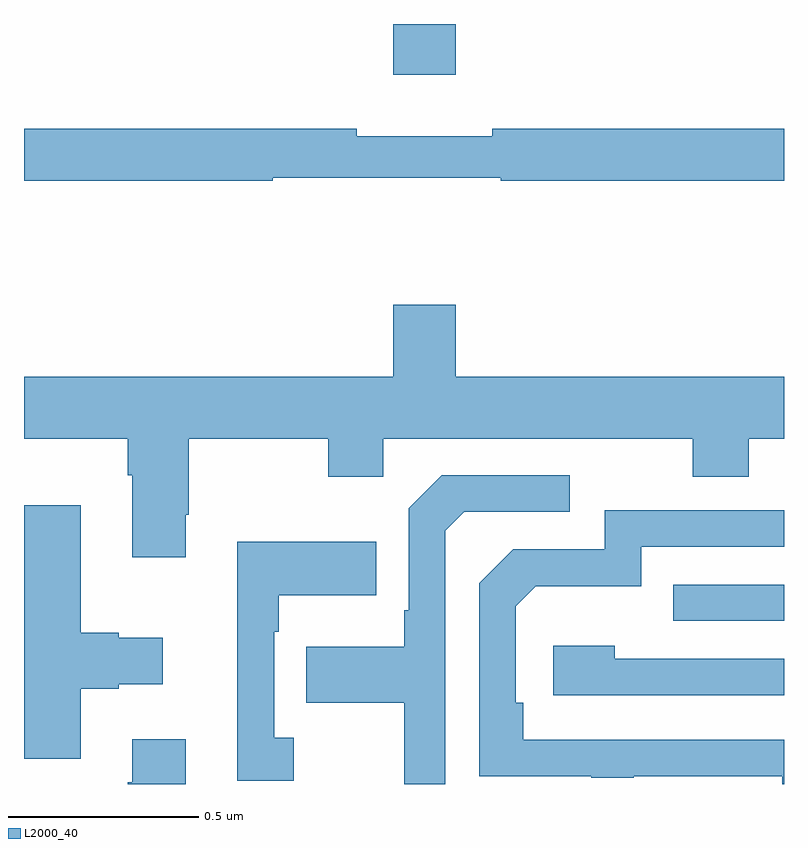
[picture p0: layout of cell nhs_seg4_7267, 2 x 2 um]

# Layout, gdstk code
import gdstk
lib = gdstk.Library(unit=1e-6, precision=1e-09)
def R(c, l, rs):  # rectangles x0, y0, x1, y1
    for r in rs: c.add(gdstk.rectangle(r[:2], r[2:], *l))
def P(c, l, *ps):  # polygons
    for p in ps: c.add(gdstk.Polygon(p, *l))
L2000_40 = (2000, 40)

nhs_seg4_7267 = lib.new_cell('nhs_seg4_7267')
R(nhs_seg4_7267, L2000_40, [(201.709,808.329,202,808.425), (200.972,809.766,201.136,809.9)])
P(nhs_seg4_7267, L2000_40, [(200.655,809.496),(201.255,809.496),(201.255,809.488),(202,809.488),(202,809.624),(201.232,809.624),(201.232,809.605),(200.876,809.605),(200.876,809.624),(200,809.624),(200,809.488),(200.655,809.488)],
  [(200.425,808.609),(200.433,808.609),(200.433,808.808),(200.8,808.808),(200.8,808.709),(200.946,808.709),(200.946,808.808),(201.76,808.808),(201.76,808.709),(201.907,808.709),(201.907,808.808),(202,808.808),(202,808.972),(201.136,808.972),(201.136,809.161),(200.972,809.161),(200.972,808.972),(200,808.972),(200,808.808),(200.273,808.808),(200.273,808.712),(200.285,808.712),(200.285,808.497),(200.425,808.497)],
  [(201.108,808.566),(201.159,808.617),(201.436,808.617),(201.436,808.713),(201.099,808.713),(201.012,808.626),(201.012,808.357),(201,808.357),(201,808.261),(200.743,808.261),(200.743,808.114),(201,808.114),(201,807.9),(201.108,807.9)],
  [(200.149,808.151),(200.249,808.151),(200.249,808.163),(200.365,808.163),(200.365,808.285),(200.249,808.285),(200.249,808.298),(200.149,808.298),(200.149,808.633),(200,808.633),(200,807.966),(200.149,807.966)],
  [(202,808.016),(201.989,808.016),(201.989,808.017),(201.314,808.017),(201.314,808.114),(201.294,808.114),(201.294,808.368),(201.347,808.421),(201.624,808.421),(201.624,808.524),(202,808.524),(202,808.62),(201.528,808.62),(201.528,808.518),(201.288,808.518),(201.198,808.428),(201.198,807.921),(201.493,807.921),(201.493,807.916),(201.605,807.916),(201.605,807.921),(201.995,807.921),(201.995,807.9),(202,807.9)],
  [(200.71,808.022),(200.658,808.022),(200.658,808.301),(200.671,808.301),(200.671,808.397),(200.927,808.397),(200.927,808.537),(200.561,808.537),(200.561,807.909),(200.71,807.909)],
  [(202,808.23),(201.554,808.23),(201.554,808.264),(201.393,808.264),(201.393,808.134),(202,808.134)],
  [(200.425,808.018),(200.285,808.018),(200.285,807.905),(200.273,807.905),(200.273,807.9),(200.425,807.9)])

lib.write_gds('nhs_seg4_7267.gds')
